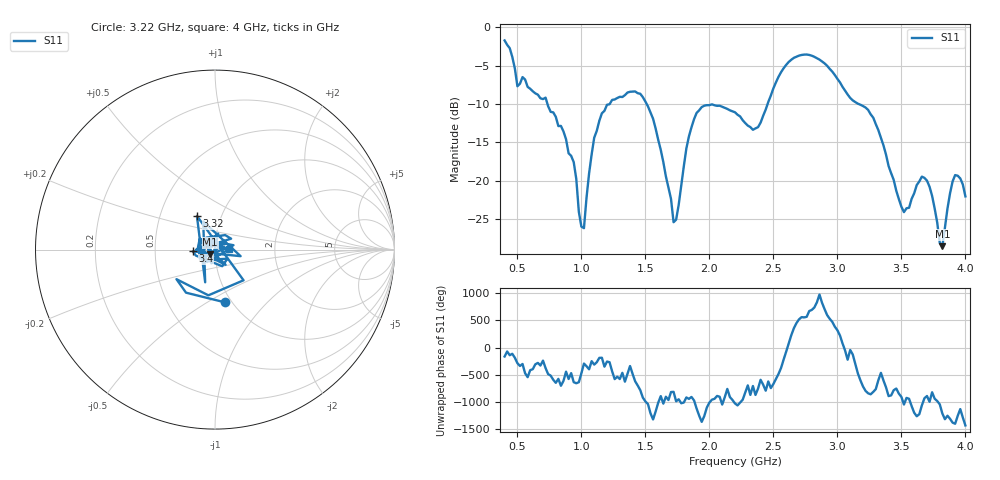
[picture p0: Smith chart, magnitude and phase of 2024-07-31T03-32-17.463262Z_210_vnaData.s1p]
!Created with skrf (http://scikit-rf.org).
# Hz S RI R 50.0
!freq ReS11 ImS11
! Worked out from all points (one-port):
!   181 points, 400 MHz to 4 GHz, reference 50 ohm
!   lowest |S11| = -28.6 dB at 3.82 GHz (marker M1), VSWR 1.08, Z = 47.3 - j2.4 ohm
!   |S11| at or under -10 dB: 734.8 MHz to 1.221 GHz (486.5 MHz wide, 49.7 % of centre); 1.51 GHz to 2.455 GHz (944.9 MHz wide, 47.7 % of centre); 3.166 GHz to end of sweep
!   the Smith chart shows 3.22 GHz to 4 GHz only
!   S11 on the Smith chart (normalised r, x): 3.22 GHz: 0.93, -0.60; 3.32 GHz: 0.77, +0.30; 3.4 GHz: 0.78, -0.02; 4 GHz: 1.17, +0.01
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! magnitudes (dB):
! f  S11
! 400 MHz  -1.7
! 500 MHz  -7.7
! 720 MHz  -9.2
! 860 MHz  -13.6
! 940 MHz  -17.6
! 980 MHz  -24.1
! 1.02 GHz  -26.2
! 1.1 GHz  -14.4
! 1.3 GHz  -9.1
! 1.5 GHz  -9.7
! 1.62 GHz  -16.0
! 1.72 GHz  -25.4
! 1.76 GHz  -23.2
! 1.82 GHz  -15.8
! 1.9 GHz  -11.2
! 2.2 GHz  -11.1
! 2.38 GHz  -13.0
! 2.66 GHz  -4.0
! 2.86 GHz  -4.2
! 3.1 GHz  -9.2
! 3.22 GHz  -10.5
! 3.32 GHz  -13.4
! 3.4 GHz  -18.1
! 3.56 GHz  -23.6
! 3.7 GHz  -20.0
! 3.82 GHz  -28.6
! 3.92 GHz  -19.3
! 4 GHz  -22.1
